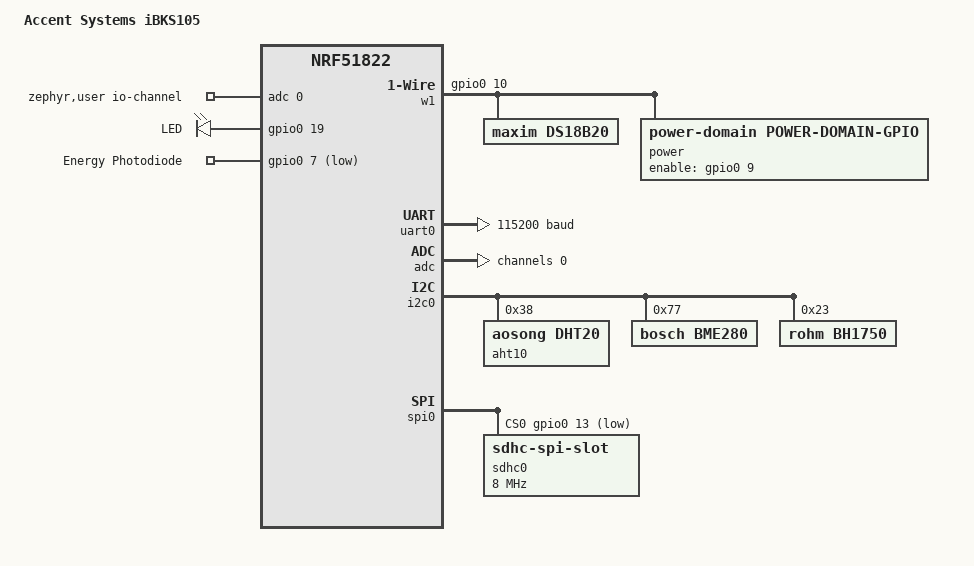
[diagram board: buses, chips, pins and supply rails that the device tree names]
/*
 * Copyright (c) 2017 Linaro Limited
 *
 * SPDX-License-Identifier: Apache-2.0
 */

/dts-v1/;
#include <nordic/nrf51822_qfaa.dtsi>
#include "nrf51_ibks105-pinctrl.dtsi"

/ {
	model = "Accent Systems iBKS105";
	compatible = "accent_systems,ibks105";

	chosen {
		zephyr,console = &uart0;
		zephyr,shell-uart = &uart0;
		zephyr,bt-mon-uart = &uart0;
		zephyr,bt-c2h-uart = &uart0;
		zephyr,sram = &sram0;
		zephyr,flash = &flash0;
	};

	rtt0: rtt_chan0 {
		compatible = "segger,rtt-uart";
		status = "okay";
	};

	zephyr,user {
		io-channels = <&adc 0>;
	};

	aliases {
		led0 = &led0;
		watchdog0 = &wdt0;
	};

	leds {
		compatible = "gpio-leds";
		led0: led_0 {
			gpios = <&gpio0 19 0>;
			label = "LED";
		};
	};

	buttons {
		compatible = "gpio-keys";
		energy_pd: energy_pd {
			// P0.07.
			gpios = <&gpio0 7 (GPIO_PULL_UP | GPIO_ACTIVE_LOW)>;
			label = "Energy Photodiode";
		};
	};

	w1: w1 {
		compatible = "zephyr,w1-gpio";
		gpios = <&gpio0 10 (GPIO_ACTIVE_HIGH | GPIO_OPEN_DRAIN | GPIO_PULL_UP)>;
		
		ds18b20: ds18b20 {
			compatible = "maxim,ds18b20";
			family-code = <0x28>;
			resolution = <12>;
			status = "okay";
		};
		
		power {
			compatible = "power-domain,power-domain-gpio";
			enable-gpios = <&gpio0 9 (GPIO_ACTIVE_HIGH | GPIO_OPEN_DRAIN)>;
		};
	};

	aliases {
		dht0 = &aht10;
		bmp280 = &bme280;
		ds18 = &ds18b20;
		bh1750 = &bh1750;
	};
};

&gpiote {
	status = "okay";
};

&gpio0 {
	status = "okay";
	// For low-power EDGE interrupts.
	// See github.com/zephyrproject-rtos/zephyr/issues/28499.
	sense-edge-mask = <0xffffffff>;
};

&uart0 {
	current-speed = <115200>;
	// status = "disabled";
	status = "okay";
	pinctrl-0 = <&uart0_default>;
	pinctrl-1 = <&uart0_sleep>;
	pinctrl-names = "default", "sleep";
};

&adc {
	#address-cells = <1>;
	#size-cells = <0>;
	status = "ok";

	// Battery.
	channel@0 {
		reg = <0>;
		zephyr,gain = "ADC_GAIN_1_3";
		zephyr,reference = "ADC_REF_INTERNAL";
		zephyr,acquisition-time = <ADC_ACQ_TIME_DEFAULT>;
		zephyr,input-positive = <NRF_ADC_AIN7>;
		// zephyr,input-positive = <NRF_SAADC_VDD>;
		zephyr,resolution = <10>;
	};
};

&i2c0 {
	compatible = "nordic,nrf-twi";
	status = "okay";
	pinctrl-0 = <&i2c0_default>;
	pinctrl-1 = <&i2c0_sleep>;
	pinctrl-names = "default", "sleep";

	aht10: aht10@38 {
		compatible = "aosong,dht20";
		reg = <0x38>;
		#address-cells = <1>;
		#size-cells = <0>;
	};

	bme280: bme280@77 {
		/* 0x76 - SDO <-> GND */
		/* 0x77 - SDO <-> VCC */
		compatible = "bosch,bme280";
		reg = <0x77>;
	};

	bh1750: bh1750@5c {
		/* 0x23 - ADDR <-> GND/FLOATING */
		/* 0x5c - ADDR <-> VCC */
		compatible = "rohm,bh1750";
		reg = <0x23>;
	};
};

sd_spi: &spi0 {
	compatible = "nordic,nrf-spi";
	status = "okay";
	pinctrl-0 = <&spi0_default>;
	pinctrl-1 = <&spi0_sleep>;
	pinctrl-names = "default", "sleep";
	cs-gpios = <&gpio0 13 GPIO_ACTIVE_LOW>;

	sdhc0: sdhc@0 {
		compatible = "zephyr,sdhc-spi-slot";
		reg = <0>;
		status = "okay";
		spi-max-frequency = <8000000>;
		mmc {
			compatible = "zephyr,sdmmc-disk";
			status = "okay";
		};
	};
};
